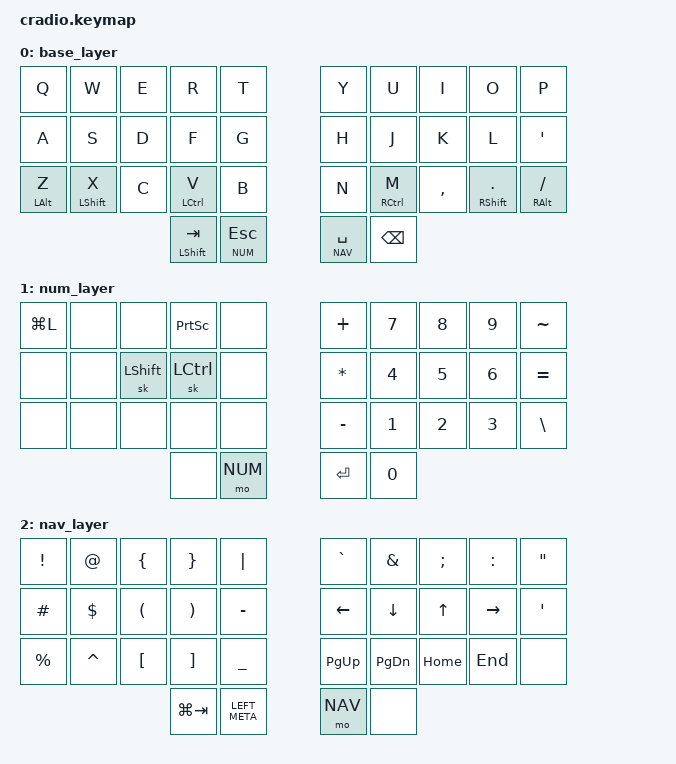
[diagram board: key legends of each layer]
/*
 * Copyright (c) 2021 The ZMK Contributors
 *
 * SPDX-License-Identifier: MIT
 */

#include <behaviors.dtsi>
#include <dt-bindings/zmk/keys.h>
#include <dt-bindings/zmk/bt.h>

#define DEFAULT 0
#define NUM 1
#define NAV 2

/* Avoid issues with double keypresses on Purpz and other light keys
 * https://discord.com/channels/719497620560543766/719909884769992755/882965364038844446
 */
&kscan0 {
    debounce-period = <15>;
};

/ {
  behaviors {
        hm: homerow_mods {
            compatible = "zmk,behavior-hold-tap";
            label = "HOMEROW_MODS";
            #binding-cells = <2>;
            tapping-term-ms = <150>;
            quick_tap_ms = <0>;
            flavor = "tap-preferred";
            bindings = <&kp>, <&kp>;
        };
    };

  combos {
      compatible = "zmk,combos";
      /* jk for esc */
      combo_esc {
          timeout-ms = <50>;
          key-positions = <16 17>;
          layers = <0>;
          bindings = <&kp ESC>;
      };
  };

	keymap {
		compatible = "zmk,keymap";

    base_layer {
			bindings = <
				&kp Q       &kp W          &kp E     &kp R        &kp T           &kp Y          &kp U         &kp I     &kp O     &kp P
				&kp A       &kp S          &kp D     &kp F        &kp G           &kp H          &kp J         &kp K     &kp L     &kp APOSTROPHE
				&hm LALT Z  &hm LSHIFT X   &kp C     &hm LCTRL V  &kp B           &kp N          &hm RCTRL M   &kp COMMA &hm RSHIFT DOT   &hm RALT SLASH
				                                &mt LSHIFT TAB    &lt NUM ESC   &lt NAV SPACE  &kp BSPC
			>;
		};
		num_layer {
			bindings = <
				&kp LG(L)  &none &none       &kp PRINTSCREEN &none      &kp PLUS      &kp N7   &kp N8  &kp N9   &kp TILDE
				&none      &none &sk LSHIFT  &sk LCTRL       &none      &kp ASTERISK  &kp N4   &kp N5  &kp N6   &kp EQUAL
				&none      &none &none       &none           &none      &kp MINUS     &kp N1   &kp N2  &kp N3   &kp BACKSLASH
				                                   &none  &mo NUM       &kp ENTER     &kp N0
			>;
		};
		nav_layer {
			bindings = <
				&kp EXCLAMATION &kp AT      &kp LEFT_BRACE       &kp RIGHT_BRACE       &kp PIPE          &kp GRAVE    &kp AMPERSAND  &kp SEMICOLON  &kp COLON  &kp DOUBLE_QUOTES
				&kp HASH        &kp DOLLAR  &kp LEFT_PARENTHESIS &kp RIGHT_PARENTHESIS &kp MINUS         &kp LEFT     &kp DOWN       &kp UP         &kp RIGHT  &kp APOSTROPHE
				&kp PERCENT     &kp CARET   &kp LEFT_BRACKET     &kp RIGHT_BRACKET     &kp UNDERSCORE    &kp PAGE_UP  &kp PAGE_DOWN  &kp HOME       &kp END    &none
				                                                 &kp LG(TAB)           &kp LEFT_META     &mo NAV      &none
			>;
		};
	};
};
